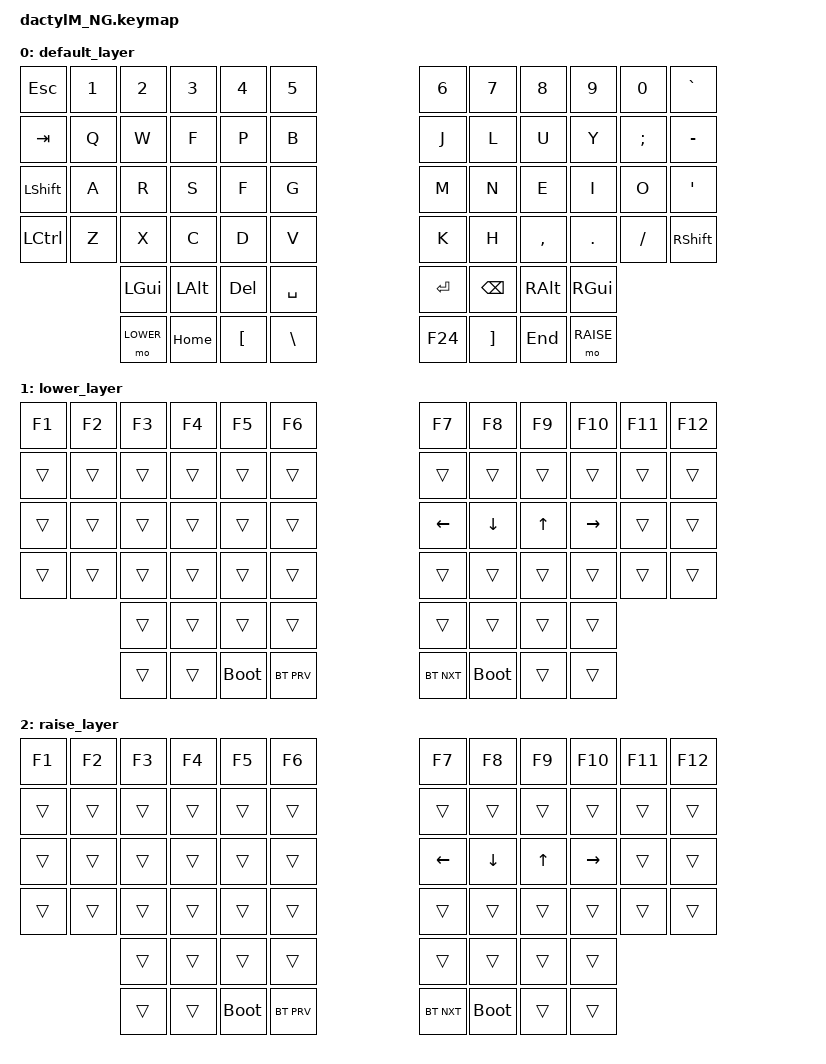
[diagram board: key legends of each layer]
/*
 * Copyright (c) 2020 The ZMK Contributors
 *
 * SPDX-License-Identifier: MIT
 */
/**/

#include <behaviors.dtsi>
#include <dt-bindings/zmk/keys.h>
#include <dt-bindings/zmk/bt.h>

/ {
    keymap {
        compatible = "zmk,keymap";

        default_layer { //colemak
// ------------------------------------------------------------------------------------------------------------
// |  ESC  |   1   |   2   |   3   |   4   |   5   |                   |   6   |   7   |   8   |   9   |   0   |   `   |
// |  TAB  |   Q   |   W   |   F   |   P   |   B   |                   |   J   |   L   |   U   |   Y   |   ;   | BKSPC |
// | SHIFT |   A   |   R   |   S   |   T   |   G   |                   |   M   |   N   |   E   |   I   |   O   |   '   |
// | CTRL  |   Z   |   X   |   C   |   D   |   V   |  MUTE  |  |       |   K   |   H   |   ,   |   .   |   /   | SHIFT |
//                 |  GUI  |  ALT  | CTRL  | LOWER |  ENTER |  | SPACE | RAISE | CTRL  |  ALT  |  GUI  |
            bindings = <
&kp ESC   &kp N1 &kp N2    &kp N3   &kp N4    &kp N5                      &kp N6  &kp N7    &kp N8    &kp N9   &kp N0   &kp GRAVE
&kp TAB   &kp Q  &kp W     &kp F    &kp P     &kp B                       &kp J   &kp L     &kp U     &kp Y    &kp SEMI &kp MINUS
&kp LSHFT &kp A  &kp R     &kp S    &kp F     &kp G                       &kp M   &kp N     &kp E     &kp I    &kp O    &kp SQT
&kp LCTRL &kp Z  &kp X     &kp C    &kp D     &kp V                       &kp K   &kp H     &kp COMMA &kp DOT  &kp FSLH &kp RSHFT
                 &kp LGUI  &kp LALT &kp DEL   &kp SPACE                   &kp RET &kp BSPC  &kp RALT  &kp RGUI
                 &mo LOWER &kp HOME &kp LBKT  &kp BSLH                    &kp F24 &kp RBKT  &kp END   &mo RAISE                 
            >;
        };

// 
//         qwerty_layer { //qwerty
// // ------------------------------------------------------------------------------------------------------------
// // |  `    |  1  |  2  |  3   |  4   |  5   |                   |  6   |  7    |  8    |  9   |   0   |       |
// // |  ESC  |  Q  |  W  |  E   |  R   |  T   |                   |  Y   |  U    |  I    |  O   |   P   | BKSPC |
// // |  TAB  |  A  |  S  |  D   |  F   |  G   |                   |  H   |  J    |  K    |  L   |   ;   |   '   |
// // | SHIFT |  Z  |  X  |  C   |  V   |  B   |  MUTE  |  |       |  N   |  M    |  ,    |  .   |   /   | SHIFT |
// //               | GUI | ALT  | CTRL | LOWER|  ENTER |  | SPACE | RAISE| CTRL  | ALT   | GUI  |
//             bindings = <
// &kp GRAVE &kp N1 &kp N2   &kp N3   &kp N4    &kp N5                      &kp N6 &kp N7    &kp N8    &kp N9   &kp N0   &none
// &kp ESC   &kp Q  &kp W    &kp E    &kp R     &kp T                       &kp Y  &kp U     &kp I     &kp O    &kp P    &kp BSPC
// &kp TAB   &kp A  &kp S    &kp D    &kp F     &kp G                       &kp H  &kp J     &kp K     &kp L    &kp SEMI &kp SQT
// &kp LSHFT &kp Z  &kp X    &kp C    &kp V     &kp B                       &kp N  &kp M     &kp COMMA &kp DOT  &kp FSLH &kp RSHFT
//                  &kp LGUI &kp LALT &kp LCTRL &mo 1                       &mo 2  &kp RCTRL &kp RALT  &kp RGUI
//                  &kp LGUI &kp LALT &kp LCTRL &mo 1                       &mo 2  &kp RCTRL &kp RALT  &kp RGUI                 
//             >;
//         };
// 
        lower_layer { //function keys
// TODO: Some binds are waiting for shifted keycode support.
// ------------------------------------------------------------------------------------------------------------
// |       |  F1 |  F2 |  F3  |  F4  |  F5  |                   |  F6  |  F7   |  F8   |  F9  |  F10  |  F11  |
// | `     |   1 |   2 |   3  |   4  |   5  |                   |   6  |   7   |   8   |   9  |    0  |  F12  |
// |       |  !  |  @  |  #   |  $   |  %   |                   |  ^   |  &    |  *    |  (   |   )   |   |   |
// |       |  =  |  -  |  +   |  {   |  }   |        |  |       |  [   |  ]    |  ;    |  :   |   \   |       |
//               |     |      |      |      |        |  |       |      |       |       |      |
           bindings = <
&kp F1  &kp F2  &kp F3  &kp F4  &kp F5       &kp F6                 &kp F7      &kp F8       &kp F9  &kp F10    &kp F11 &kp F12
&trans  &trans  &trans  &trans  &trans       &trans                 &trans      &trans       &trans  &trans     &trans  &trans
&trans  &trans  &trans  &trans  &trans       &trans                 &kp LEFT    &kp DOWN     &kp UP  &kp RIGHT  &trans  &trans
&trans  &trans  &trans  &trans  &trans       &trans                 &trans      &trans       &trans  &trans     &trans  &trans
                &trans  &trans  &trans       &trans                 &trans      &trans       &trans  &trans
                &trans  &trans  &bootloader  &bt BT_PRV             &bt BT_NXT  &bootloader  &trans  &trans                 
            >;
        };

        raise_layer { //hardware controls
// ------------------------------------------------------------------------------------------------------------
// |BTCLR| BT1  | BT2  |  BT3  |  BT4  |  BT5 |                |      |      |       |      |       |       |
// |     | INS  | PSCR | GUI   |       |      |                | PGUP |      |   ^   |      |       |       |
// |     | ALT  | CTRL | SHIFT |       | CAPS |                | PGDN |   <- |   v   |  ->  |  DEL  | BKSPC |
// |     | UNDO | CUT  | COPY  | PASTE |      |      |  |      |      |      |       |      |       |       |
//              |      |       |       |      |      |  |      |      |      |       |      |
           bindings = <
&kp F1  &kp F2  &kp F3  &kp F4  &kp F5       &kp F6                 &kp F7      &kp F8       &kp F9  &kp F10    &kp F11 &kp F12
&trans  &trans  &trans  &trans  &trans       &trans                 &trans      &trans       &trans  &trans     &trans  &trans
&trans  &trans  &trans  &trans  &trans       &trans                 &kp LEFT    &kp DOWN     &kp UP  &kp RIGHT  &trans  &trans
&trans  &trans  &trans  &trans  &trans       &trans                 &trans      &trans       &trans  &trans     &trans  &trans
                &trans  &trans  &trans       &trans                 &trans      &trans       &trans  &trans
                &trans  &trans  &bootloader  &bt BT_PRV             &bt BT_NXT  &bootloader  &trans  &trans                 
            >;
        };
    };
};
